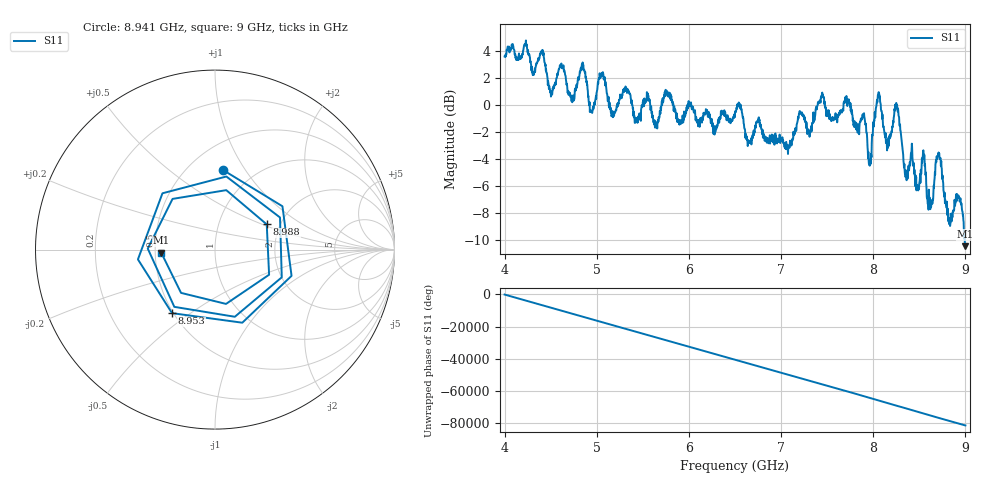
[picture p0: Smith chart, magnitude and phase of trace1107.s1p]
! Created with skrf 1.8.0 (http://scikit-rf.org).
# Hz S RI R 50.0
!freq ReS11 ImS11
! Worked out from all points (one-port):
!   1601 points, 4 GHz to 9 GHz, reference 50 ohm
!   lowest |S11| = -10.5 dB at 9 GHz (marker M1), VSWR 1.86, Z = 26.9 - j1.01 ohm
!   |S11| at or under -10 dB: 8.993026 GHz to end of sweep
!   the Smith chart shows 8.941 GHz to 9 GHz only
!   S11 on the Smith chart (normalised r, x): 8.941 GHz: 0.73, +0.80; 8.953 GHz: 0.49, -0.43; 8.988 GHz: 1.70, +0.53; 9 GHz: 0.54, -0.02
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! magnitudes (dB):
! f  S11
! 4 GHz  3.6
! 4.406 GHz  3.8
! 4.506 GHz  0.8
! 4.625 GHz  2.7
! 4.734 GHz  0.2
! 4.85 GHz  2.7
! 4.944 GHz  -0.4
! 5.047 GHz  2.2
! 5.169 GHz  -0.8
! 5.25 GHz  0.4
! 5.875 GHz  -1.3
! 6.5 GHz  -0.5
! 7.125 GHz  -2.5
! 7.441 GHz  0.6
! 7.75 GHz  -0.2
! 7.959 GHz  -4.4
! 8.053 GHz  0.8
! 8.15 GHz  -3.4
! 8.256 GHz  -0.3
! 8.375 GHz  -5.4
! 8.547 GHz  -3.6
! 8.619 GHz  -7.7
! 8.712 GHz  -3.8
! 8.828 GHz  -8.4
! 8.941 GHz  -7.0
! 8.953 GHz  -7.4
! 8.988 GHz  -9.9
! 9 GHz  -10.5
